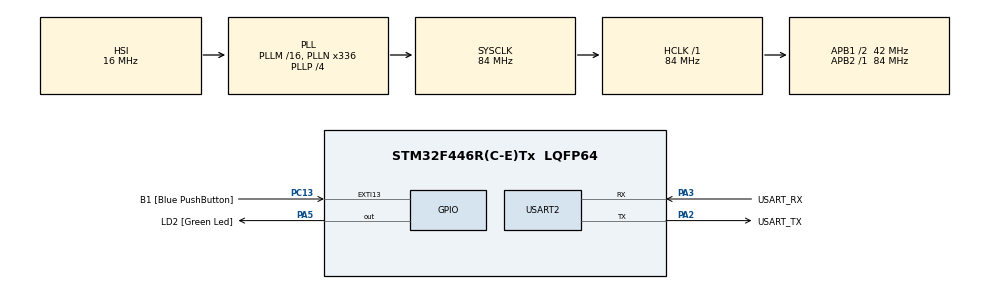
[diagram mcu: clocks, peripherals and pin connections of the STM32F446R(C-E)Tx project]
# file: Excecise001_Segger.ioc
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Mcu.Family=STM32F4
VP_SYS_VS_tim6.Mode=TIM6
PH0-OSC_IN.Signal=RCC_OSC_IN
RCC.CortexFreq_Value=84000000
NVIC.TIM6_DAC_IRQn=true\:0\:0\:false\:false\:true\:false\:true
PC13.Signal=GPXTI13
PA14.GPIO_Label=TCK
PC13.GPIO_Label=B1 [Blue PushButton]
RCC.APB1CLKDivider=RCC_HCLK_DIV2
PC14-OSC32_IN.Signal=RCC_OSC32_IN
RCC.SYSCLKSource=RCC_SYSCLKSOURCE_PLLCLK
ProjectManager.StackSize=0x400
PA13.Signal=SYS_JTMS-SWDIO
PA3.Mode=Asynchronous
ProjectManager.TargetToolchain=STM32CubeIDE
RCC.HCLKFreq_Value=84000000
RCC.APB2TimFreq_Value=84000000
RCC.USBFreq_Value=168000000
RCC.LSE_VALUE=32768
PC15-OSC32_OUT.Signal=RCC_OSC32_OUT
RCC.AHBFreq_Value=84000000
PA5.Signal=GPIO_Output
RCC.HSE_VALUE=8000000
PB3.Mode=Trace_Asynchronous_SW
board=NUCLEO-F446RE
RCC.VCOOutputFreq_Value=336000000
RCC.APB2Freq_Value=84000000
PA14.Mode=Trace_Asynchronous_SW
PH1-OSC_OUT.Signal=RCC_OSC_OUT
PA13.Mode=Trace_Asynchronous_SW
Mcu.Name=STM32F446R(C-E)Tx
PA2.Signal=USART2_TX
PA13.GPIO_Label=TMS
RCC.FLatency-AdvancedSettings=FLASH_LATENCY_2
PB3.Signal=SYS_JTDO-SWO
RCC.SYSCLKFreq_VALUE=84000000
Mcu.Package=LQFP64
NVIC.TimeBase=TIM6_DAC_IRQn
PA5.GPIO_Label=LD2 [Green Led]
PC13.GPIO_ModeDefaultEXTI=GPIO_MODE_IT_FALLING
USART2.VirtualMode=VM_ASYNC
PA2.GPIO_Label=USART_TX
NVIC.TimeBaseIP=TIM6
PA14.Signal=SYS_JTCK-SWCLK
ProjectManager.HeapSize=0x200
RCC.HSI_VALUE=16000000
RCC.PLLP=RCC_PLLP_DIV4
NVIC.PriorityGroup=NVIC_PRIORITYGROUP_4
RCC.PLLN=336
RCC.APB1TimFreq_Value=84000000
PA2.Mode=Asynchronous
RCC.APB1Freq_Value=42000000
PA3.GPIO_Label=USART_RX
PA3.Signal=USART2_RX
PB3.GPIO_Label=SWO

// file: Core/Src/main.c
/* USER CODE BEGIN Header */
/**
  ******************************************************************************
  * @file           : main.c
  * @brief          : Main program body
  ******************************************************************************
  * @attention
  *
  * <h2><center>&copy; Copyright (c) 2021 STMicroelectronics.
  * All rights reserved.</center></h2>
  *
  * This software component is licensed by ST under BSD 3-Clause license,
  * the "License"; You may not use this file except in compliance with the
  * License. You may obtain a copy of the License at:
  *                        opensource.org/licenses/BSD-3-Clause
  *
  ******************************************************************************
  */
/* USER CODE END Header */
#include "main.h"

/* USER CODE BEGIN Includes */
#include <stdio.h>
#include "FreeRTOS.h"
#include "task.h"

/* USER CODE END Includes */

/* USER CODE BEGIN PD */

#define  DWT_CTRL (*(volatile uint32_t*) 0xE0001000)

/* USER CODE END PD */

UART_HandleTypeDef huart2;

void SystemClock_Config(void);
static void MX_GPIO_Init(void);
static void MX_USART2_UART_Init(void);
/* USER CODE BEGIN PFP */

static void task1_handler(void* parameters);
static void task2_handler(void* parameters);

/* USER CODE END PFP */

int main(void)
{
  /* USER CODE BEGIN 1 */

	TaskHandle_t task_1_handle;
	TaskHandle_t task_2_handle;
	BaseType_t status;

  /* USER CODE END 1 */

  /* MCU Configuration--------------------------------------------------------*/

  /* Reset of all peripherals, Initializes the Flash interface and the Systick. */
  HAL_Init();

  /* Configure the system clock */
  SystemClock_Config();

  /* Initialize all configured peripherals */
  MX_GPIO_Init();
  MX_USART2_UART_Init();
  /* USER CODE BEGIN 2 */

  // Enable the CCNT counter
  DWT_CTRL |= (1 << 0);

  SEGGER_SYSVIEW_Conf();
  SEGGER_SYSVIEW_Start();

  /*
  //  Define Tasks
  //  task handler go in  user code 4
  */
    status = xTaskCreate(task1_handler, "Task-1", 200, "Hello world from task-1", 2, &task_1_handle);
    configASSERT(status == pdPASS); //macro -> activates assert and traps code in infinite loop -> good for debugging

    status = xTaskCreate(task2_handler, "Task-2", 200, "Hello world from task-2", 2, &task_2_handle);
    configASSERT(status == pdPASS);

    //Start the freeRTOS scheduler
    vTaskStartScheduler(); //only return is problem launching scheduler (eg. memory insufficient)

   //if the control comes here, the scheduler has failed due to insufficient memory in the heap

  /* USER CODE END 2 */

  /* Infinite loop */
  while (1)
  {

  }
}

void SystemClock_Config(void)
{
  RCC_OscInitTypeDef RCC_OscInitStruct = {0};
  RCC_ClkInitTypeDef RCC_ClkInitStruct = {0};

  /** Configure the main internal regulator output voltage
  */
  __HAL_RCC_PWR_CLK_ENABLE();
  __HAL_PWR_VOLTAGESCALING_CONFIG(PWR_REGULATOR_VOLTAGE_SCALE3);
  /** Initializes the RCC Oscillators according to the specified parameters
  * in the RCC_OscInitTypeDef structure.
  */
  RCC_OscInitStruct.OscillatorType = RCC_OSCILLATORTYPE_HSI;
  RCC_OscInitStruct.HSIState = RCC_HSI_ON;
  RCC_OscInitStruct.HSICalibrationValue = RCC_HSICALIBRATION_DEFAULT;
  RCC_OscInitStruct.PLL.PLLState = RCC_PLL_ON;
  RCC_OscInitStruct.PLL.PLLSource = RCC_PLLSOURCE_HSI;
  RCC_OscInitStruct.PLL.PLLM = 16;
  RCC_OscInitStruct.PLL.PLLN = 336;
  RCC_OscInitStruct.PLL.PLLP = RCC_PLLP_DIV4;
  RCC_OscInitStruct.PLL.PLLQ = 2;
  RCC_OscInitStruct.PLL.PLLR = 2;
  if (HAL_RCC_OscConfig(&RCC_OscInitStruct) != HAL_OK)
  {
    Error_Handler();
  }
  /** Initializes the CPU, AHB and APB buses clocks
  */
  RCC_ClkInitStruct.ClockType = RCC_CLOCKTYPE_HCLK|RCC_CLOCKTYPE_SYSCLK
                              |RCC_CLOCKTYPE_PCLK1|RCC_CLOCKTYPE_PCLK2;
  RCC_ClkInitStruct.SYSCLKSource = RCC_SYSCLKSOURCE_PLLCLK;
  RCC_ClkInitStruct.AHBCLKDivider = RCC_SYSCLK_DIV1;
  RCC_ClkInitStruct.APB1CLKDivider = RCC_HCLK_DIV2;
  RCC_ClkInitStruct.APB2CLKDivider = RCC_HCLK_DIV1;

  if (HAL_RCC_ClockConfig(&RCC_ClkInitStruct, FLASH_LATENCY_2) != HAL_OK)
  {
    Error_Handler();
  }
}

static void MX_USART2_UART_Init(void)
{

  huart2.Instance = USART2;
  huart2.Init.BaudRate = 115200;
  huart2.Init.WordLength = UART_WORDLENGTH_8B;
  huart2.Init.StopBits = UART_STOPBITS_1;
  huart2.Init.Parity = UART_PARITY_NONE;
  huart2.Init.Mode = UART_MODE_TX_RX;
  huart2.Init.HwFlowCtl = UART_HWCONTROL_NONE;
  huart2.Init.OverSampling = UART_OVERSAMPLING_16;
  if (HAL_UART_Init(&huart2) != HAL_OK)
  {
    Error_Handler();
  }

}

static void MX_GPIO_Init(void)
{
  GPIO_InitTypeDef GPIO_InitStruct = {0};

  /* GPIO Ports Clock Enable */
  __HAL_RCC_GPIOC_CLK_ENABLE();
  __HAL_RCC_GPIOH_CLK_ENABLE();
  __HAL_RCC_GPIOA_CLK_ENABLE();
  __HAL_RCC_GPIOB_CLK_ENABLE();

  /*Configure GPIO pin Output Level */
  HAL_GPIO_WritePin(LD2_GPIO_Port, LD2_Pin, GPIO_PIN_RESET);

  /*Configure GPIO pin : B1_Pin */
  GPIO_InitStruct.Pin = B1_Pin;
  GPIO_InitStruct.Mode = GPIO_MODE_IT_FALLING;
  GPIO_InitStruct.Pull = GPIO_NOPULL;
  HAL_GPIO_Init(B1_GPIO_Port, &GPIO_InitStruct);

  /*Configure GPIO pin : LD2_Pin */
  GPIO_InitStruct.Pin = LD2_Pin;
  GPIO_InitStruct.Mode = GPIO_MODE_OUTPUT_PP;
  GPIO_InitStruct.Pull = GPIO_NOPULL;
  GPIO_InitStruct.Speed = GPIO_SPEED_FREQ_LOW;
  HAL_GPIO_Init(LD2_GPIO_Port, &GPIO_InitStruct);

}

/* USER CODE BEGIN 4 */

/*Task Handler*/
static void task1_handler(void* parameters)
{
	char msg[100];
	while(1)
	{
//		printf("%s\n", (char*)parameters);
		snprintf(msg, 100, "%s\n", (char*)parameters); //format string
		SEGGER_SYSVIEW_PrintfTarget(msg); //send a message to the host - shows up in sytem view

		taskYIELD(); //give up processor ->cooparative
	}
}

static void task2_handler(void* parameters)
{
	char msg[100];
	while(1)
		{
//			printf("%s\n", (char*)parameters);

			snprintf(msg, 100, "%s\n", (char*)parameters); //format string
			SEGGER_SYSVIEW_PrintfTarget(msg); //send a message to the host - shows up in sytem view

			taskYIELD(); //give up processor ->cooparative
		}
}

/* USER CODE END 4 */

 /**
  * @brief  Period elapsed callback in non blocking mode
  * @note   This function is called  when TIM6 interrupt took place, inside
  * HAL_TIM_IRQHandler(). It makes a direct call to HAL_IncTick() to increment
  * a global variable "uwTick" used as application time base.
  * @param  htim : TIM handle
  * @retval None
  */
void HAL_TIM_PeriodElapsedCallback(TIM_HandleTypeDef *htim)
{
  if (htim->Instance == TIM6) {
    HAL_IncTick();
  }
}

void Error_Handler(void)
{
  __disable_irq();
  while (1)
  {
  }
}

/************************ (C) COPYRIGHT STMicroelectronics *****END OF FILE****/
